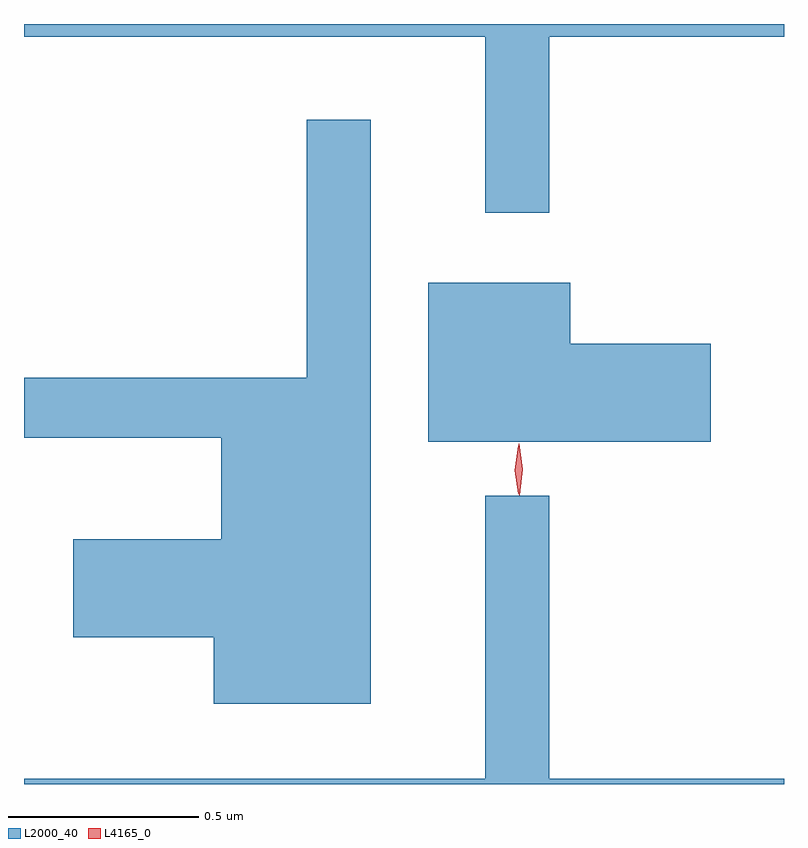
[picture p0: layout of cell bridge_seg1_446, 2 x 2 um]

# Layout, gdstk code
import gdstk
lib = gdstk.Library(unit=1e-6, precision=1e-09)
def P(c, l, *ps):  # polygons
    for p in ps: c.add(gdstk.Polygon(p, *l))
L2000_40 = (2000, 40)
L4165_0 = (4165, 0)

bridge_seg1_446 = lib.new_cell('bridge_seg1_446')
P(bridge_seg1_446, L2000_40, [(233.199,846.296),(233.817,846.296),(233.817,846.33),(231.817,846.33),(231.817,846.296),(233.031,846.296),(233.031,845.833),(233.199,845.833)],
  [(232.729,846.078),(232.561,846.078),(232.561,845.399),(231.817,845.399),(231.817,845.241),(232.336,845.241),(232.336,844.974),(231.946,844.974),(231.946,844.716),(232.316,844.716),(232.316,844.541),(232.729,844.541)],
  [(233.624,845.489),(233.254,845.489),(233.254,845.649),(232.881,845.649),(232.881,845.231),(233.624,845.231)],
  [(233.817,844.344),(233.199,844.344),(233.199,845.088),(233.031,845.088),(233.031,844.344),(231.817,844.344),(231.817,844.33),(233.817,844.33)])
P(bridge_seg1_446, L4165_0, [(233.118,845.093),(233.117,845.094),(233.108,845.156),(233.117,845.22),(233.118,845.22),(233.118,845.22),(233.128,845.156),(233.118,845.094)],
  [(233.12,845.09),(233.11,845.158),(233.119,845.226),(233.12,845.226),(233.12,845.226),(233.13,845.158),(233.121,845.09),(233.121,845.09)])

lib.write_gds('bridge_seg1_446.gds')
